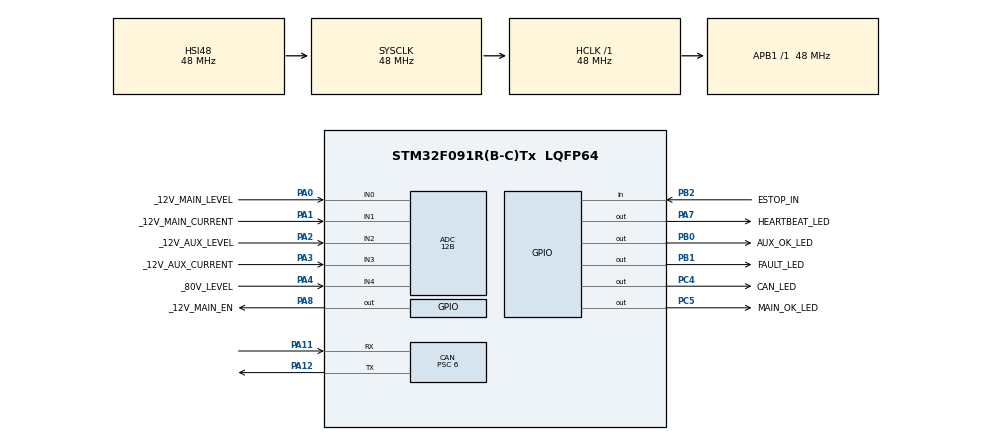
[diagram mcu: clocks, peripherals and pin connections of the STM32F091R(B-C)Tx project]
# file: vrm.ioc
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ADC.ClockPrescaler=ADC_CLOCK_SYNC_PCLK_DIV4
ADC.ContinuousConvMode=DISABLE
ADC.DMAContinuousRequests=DISABLE
ADC.DataAlign=ADC_DATAALIGN_RIGHT
ADC.DiscontinuousConvMode=DISABLE
ADC.EOCSelection=ADC_EOC_SINGLE_CONV
ADC.EnableAnalogWatchDog=false
ADC.ExternalTrigConv=ADC_SOFTWARE_START
ADC.ExternalTrigConvEdge=ADC_EXTERNALTRIGCONVEDGE_NONE
ADC.LowPowerAutoPowerOff=DISABLE
ADC.LowPowerAutoWait=DISABLE
ADC.Overrun=ADC_OVR_DATA_PRESERVED
ADC.Resolution=ADC_RESOLUTION_12B
ADC.SamplingTime=ADC_SAMPLETIME_239CYCLES_5
ADC.ScanConvMode=ADC_SCAN_DIRECTION_FORWARD
CAN.ABOM=ENABLE
CAN.AWUM=ENABLE
CAN.BS1=CAN_BS1_13TQ
CAN.BS2=CAN_BS2_2TQ
CAN.CalculateTimeQuantum=125.0
CAN.Prescaler=6
Mcu.Family=STM32F0
Mcu.Name=STM32F091R(B-C)Tx
Mcu.Package=LQFP64
NVIC.ADC1_COMP_IRQn=true\:0\:0\:false\:false\:true\:true\:true
NVIC.CEC_CAN_IRQn=true\:0\:0\:false\:false\:true\:true\:true
PA0.GPIO_Label=_12V_MAIN_LEVEL
PA0.Mode=IN0
PA0.Signal=ADC_IN0
PA1.GPIO_Label=_12V_MAIN_CURRENT
PA1.Mode=IN1
PA1.Signal=ADC_IN1
PA11.Mode=Master
PA11.Signal=CAN_RX
PA12.Mode=Master
PA12.Signal=CAN_TX
PA13.Mode=Serial_Wire
PA13.Signal=SYS_SWDIO
PA14.Mode=Serial_Wire
PA14.Signal=SYS_SWCLK
PA2.GPIO_Label=_12V_AUX_LEVEL
PA2.Mode=IN2
PA2.Signal=ADC_IN2
PA3.GPIO_Label=_12V_AUX_CURRENT
PA3.Mode=IN3
PA3.Signal=ADC_IN3
PA4.GPIO_Label=_80V_LEVEL
PA4.Mode=IN4
PA4.Signal=ADC_IN4
PA7.GPIO_Label=HEARTBEAT_LED
PA7.Signal=GPIO_Output
PA8.GPIO_Label=_12V_MAIN_EN
PA8.Signal=GPIO_Output
PB0.GPIO_Label=AUX_OK_LED
PB0.Signal=GPIO_Output
PB1.GPIO_Label=FAULT_LED
PB1.Signal=GPIO_Output
PB2.GPIO_Label=ESTOP_IN
PB2.Signal=GPIO_Input
PC4.GPIO_Label=CAN_LED
PC4.Signal=GPIO_Output
PC5.GPIO_Label=MAIN_OK_LED
PC5.Signal=GPIO_Output
ProjectManager.HeapSize=0x200
ProjectManager.StackSize=0x400
ProjectManager.TargetToolchain=SW4STM32
RCC.AHBFreq_Value=48000000
RCC.APB1Freq_Value=48000000
RCC.APB1TimFreq_Value=48000000
RCC.HCLKFreq_Value=48000000
RCC.PLLMUL=RCC_PLL_MUL6
RCC.SYSCLKFreq_VALUE=48000000
RCC.SYSCLKSource=RCC_SYSCLKSOURCE_HSI48
board=custom

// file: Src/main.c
/**
  ******************************************************************************
  * @file           : main.c
  * @brief          : Main program body
  ******************************************************************************
  ** This notice applies to any and all portions of this file
  * that are not between comment pairs USER CODE BEGIN and
  * USER CODE END. Other portions of this file, whether
  * inserted by the user or by software development tools
  * are owned by their respective copyright owners.
  *
  * COPYRIGHT(c) 2019 STMicroelectronics
  *
  * Redistribution and use in source and binary forms, with or without modification,
  * are permitted provided that the following conditions are met:
  *   1. Redistributions of source code must retain the above copyright notice,
  *      this list of conditions and the following disclaimer.
  *   2. Redistributions in binary form must reproduce the above copyright notice,
  *      this list of conditions and the following disclaimer in the documentation
  *      and/or other materials provided with the distribution.
  *   3. Neither the name of STMicroelectronics nor the names of its contributors
  *      may be used to endorse or promote products derived from this software
  *      without specific prior written permission.
  *
  * THIS SOFTWARE IS PROVIDED BY THE COPYRIGHT HOLDERS AND CONTRIBUTORS "AS IS"
  * AND ANY EXPRESS OR IMPLIED WARRANTIES, INCLUDING, BUT NOT LIMITED TO, THE
  * IMPLIED WARRANTIES OF MERCHANTABILITY AND FITNESS FOR A PARTICULAR PURPOSE ARE
  * DISCLAIMED. IN NO EVENT SHALL THE COPYRIGHT HOLDER OR CONTRIBUTORS BE LIABLE
  * FOR ANY DIRECT, INDIRECT, INCIDENTAL, SPECIAL, EXEMPLARY, OR CONSEQUENTIAL
  * DAMAGES (INCLUDING, BUT NOT LIMITED TO, PROCUREMENT OF SUBSTITUTE GOODS OR
  * SERVICES; LOSS OF USE, DATA, OR PROFITS; OR BUSINESS INTERRUPTION) HOWEVER
  * CAUSED AND ON ANY THEORY OF LIABILITY, WHETHER IN CONTRACT, STRICT LIABILITY,
  * OR TORT (INCLUDING NEGLIGENCE OR OTHERWISE) ARISING IN ANY WAY OUT OF THE USE
  * OF THIS SOFTWARE, EVEN IF ADVISED OF THE POSSIBILITY OF SUCH DAMAGE.
  *
  ******************************************************************************
  */
#include "main.h"
#include "stm32f0xx_hal.h"
#include "adc.h"
#include "can.h"
#include "gpio.h"

/* USER CODE BEGIN PV */
/* Private variables ---------------------------------------------------------*/

volatile uint16_t LoopCount = 0;
volatile float vddVoltage = 3.26;
/*
 * ADC Channels
 * 0: 12V Main voltage
 * 1: 12V Main current
 * 2: 12V Aux voltage
 * 3: 12V Aux current
 * 4: 80V Main input voltage
 */
volatile uint16_t ADCRawValues[5] = {0};
volatile uint8_t ADCChannelIndex = 0;

//Voltage divider ratio calculations
//Use R2 / (R1 + R2)
static float _12V_Main_Ratio =  0.15151515151515151515151515151515; //10000 / (56000 + 10000)
static float _12V_Aux_Ratio = 0.15151515151515151515151515151515; //10000 / (56000 + 10000)
static float _80V_Ratio = 0.02629016553067185978578383641675; //2700 / (100000 + 2700)

//Voltages
volatile float Main_12V_Voltage = 0;
volatile float Aux_12V_Voltage = 0;
volatile float Input_Voltage = 0;
volatile float Main_12V_Current = 0;
volatile float Aux_12V_Current = 0;

//Thresholds
float Voltage_Tolerance = 0.1; //0-1 adjustment (x100 for percent)
float Input_Lower_Threshold = 34; //Lower input voltage limit
float Input_Upper_Threshold = 45; //Upper input voltage limit

//Status flags
volatile uint8_t Main_OK = 0;
volatile uint8_t Aux_OK = 0;
volatile uint8_t System_PSU_OK = 0;
volatile uint8_t CAN_OK = 0;
volatile uint8_t Input_Fault = 0;
volatile uint8_t Main_Fault = 0;
volatile uint8_t Aux_Fault = 0;
volatile uint8_t System_PSU_Fault = 0;
volatile uint8_t Fault = 0;

/*
 * Fault code indicator
 * Bit 7:
 * Bit 6:
 * Bit 5:
 * Bit 4:
 * Bit 3:
 * Bit 2: Input_Fault
 * Bit 1: Aux_Fault
 * Bit 0: Main_Fault
 */
volatile uint8_t Fault_Code = 0;

//Enable flags
uint8_t Main_Enable = 0;

#define BIT_SET(a,b) ((a) |= (1ULL<<(b)))
#define BIT_CLEAR(a,b) ((a) &= ~(1ULL<<(b)))

/* USER CODE END PV */

void SystemClock_Config(void);

/* USER CODE BEGIN PFP */
/* Private function prototypes -----------------------------------------------*/

float CalculateShuntCurrent(uint32_t ADC_Reading);

/* USER CODE END PFP */

/* USER CODE BEGIN 0 */

float CalculateShuntCurrent(uint32_t ADC_Reading)
{
	//Calculate ADC pin input voltage
	volatile float ADC_InputVoltage = ADC_Reading * (vddVoltage / 4096.0);

	volatile float CurrentShuntVoltage = ADC_InputVoltage / 50.0;

	volatile float Current = CurrentShuntVoltage / 0.005;

	return Current;
}

/* USER CODE END 0 */

int main(void)
{

  /* MCU Configuration----------------------------------------------------------*/

  /* Reset of all peripherals, Initializes the Flash interface and the Systick. */
  HAL_Init();

  /* Configure the system clock */
  SystemClock_Config();

  /* Initialize all configured peripherals */
  MX_GPIO_Init();
  MX_ADC_Init();
  MX_CAN_Init();
  /* USER CODE BEGIN 2 */

  HAL_ADC_Start_IT(&hadc);
  //HAL_ADC_Start(&hadc);

  hcan.Instance->MCR = 0x60;

  HAL_CAN_Receive_IT(&hcan, CAN_FIFO0);

  /* USER CODE END 2 */

  /* Infinite loop */
  /* USER CODE BEGIN WHILE */
  while (1)
  {
	  //Check for invalid main output
	  if((Main_12V_Voltage < (12 - (12 * Voltage_Tolerance)) && Main_Enable == 1) || Main_12V_Voltage > (12 + (12 * Voltage_Tolerance)))
	  {
		  Main_Fault = 1;
		  Main_OK = 0;
		  BIT_SET(Fault_Code, 0);
	  } else {
		 Main_Fault = 0;
		 Main_OK = 1;
		 BIT_CLEAR(Fault_Code, 0);
	  }

	  //Check for out of range input
	  if(Input_Voltage > Input_Upper_Threshold || Input_Voltage < Input_Lower_Threshold)
	  {
		  Input_Fault = 1;
		  BIT_SET(Fault_Code, 2);
	  } else if (Input_Voltage < Input_Upper_Threshold || Input_Voltage > Input_Lower_Threshold)
	  {
		  Input_Fault = 0;
		  BIT_CLEAR(Fault_Code, 2);
	  }

	  //Check for invalid auxiliary 12V output voltage
	  if(Aux_12V_Voltage < (12 - (12 * Voltage_Tolerance)) || Aux_12V_Voltage > (12 + (12 * Voltage_Tolerance)))
	  {
		  Aux_Fault = 1;
		  Aux_OK = 0;
		  BIT_SET(Fault_Code, 1);
	  } else {
		  Aux_Fault = 0;
		  Aux_OK = 1;
		  BIT_CLEAR(Fault_Code, 1);
	  }

	  if(Aux_Fault || Input_Fault || Main_Fault)
	  {
		  Fault = 1;
	  } else {
		  Fault = 0;
	  }

  /* USER CODE END WHILE */

  }

}

void SystemClock_Config(void)
{

  RCC_OscInitTypeDef RCC_OscInitStruct;
  RCC_ClkInitTypeDef RCC_ClkInitStruct;

    /**Initializes the CPU, AHB and APB busses clocks
    */
  RCC_OscInitStruct.OscillatorType = RCC_OSCILLATORTYPE_HSI48;
  RCC_OscInitStruct.HSI48State = RCC_HSI48_ON;
  RCC_OscInitStruct.PLL.PLLState = RCC_PLL_NONE;
  if (HAL_RCC_OscConfig(&RCC_OscInitStruct) != HAL_OK)
  {
    _Error_Handler(__FILE__, __LINE__);
  }

    /**Initializes the CPU, AHB and APB busses clocks
    */
  RCC_ClkInitStruct.ClockType = RCC_CLOCKTYPE_HCLK|RCC_CLOCKTYPE_SYSCLK
                              |RCC_CLOCKTYPE_PCLK1;
  RCC_ClkInitStruct.SYSCLKSource = RCC_SYSCLKSOURCE_HSI48;
  RCC_ClkInitStruct.AHBCLKDivider = RCC_SYSCLK_DIV1;
  RCC_ClkInitStruct.APB1CLKDivider = RCC_HCLK_DIV1;

  if (HAL_RCC_ClockConfig(&RCC_ClkInitStruct, FLASH_LATENCY_1) != HAL_OK)
  {
    _Error_Handler(__FILE__, __LINE__);
  }

    /**Configure the Systick interrupt time
    */
  HAL_SYSTICK_Config(HAL_RCC_GetHCLKFreq()/1000);

    /**Configure the Systick
    */
  HAL_SYSTICK_CLKSourceConfig(SYSTICK_CLKSOURCE_HCLK);

  /* SysTick_IRQn interrupt configuration */
  HAL_NVIC_SetPriority(SysTick_IRQn, 0, 0);
}

/* USER CODE BEGIN 4 */

void HAL_SYSTICK_Callback(void)
{
	if(LoopCount == 1000) LoopCount = 0;

	//Heartbeat indicator toggle
	if(LoopCount % 500 == 0)
	{
		HAL_GPIO_TogglePin(HEARTBEAT_LED_GPIO_Port, HEARTBEAT_LED_Pin);
	}

	//Fault indicators toggle & CAN transmit
	if(LoopCount % 100 == 0)
	{
		if(Fault == 1)
		{
			HAL_GPIO_TogglePin(FAULT_LED_GPIO_Port, FAULT_LED_Pin);

			if(Main_OK == 0) HAL_GPIO_TogglePin(MAIN_OK_LED_GPIO_Port, MAIN_OK_LED_Pin);
			if(Aux_OK == 0) HAL_GPIO_TogglePin(AUX_OK_LED_GPIO_Port, AUX_OK_LED_Pin);
		} else {
			HAL_GPIO_WritePin(FAULT_LED_GPIO_Port, FAULT_LED_Pin, 0);
		}

		hcan.pTxMsg->DLC = 6;
		hcan.pTxMsg->Data[0] = (int)Main_12V_Voltage;
		hcan.pTxMsg->Data[1] = (int)Main_12V_Current * 10;
		hcan.pTxMsg->Data[2] = (int)Aux_12V_Voltage;
		hcan.pTxMsg->Data[3] = (int)Aux_12V_Current * 10;
		hcan.pTxMsg->Data[4] = (int)Input_Voltage;
		hcan.pTxMsg->Data[5] = (int)Fault_Code;

		if(HAL_CAN_Transmit(&hcan, 10) != HAL_OK)
		{
			Error_Handler();
		} else {
			HAL_GPIO_TogglePin(CAN_LED_GPIO_Port, CAN_LED_Pin);
		}

	}

	//Status indicator setting
	if(Main_OK == 1 && Main_Enable == 1)
	{
		HAL_GPIO_WritePin(MAIN_OK_LED_GPIO_Port, MAIN_OK_LED_Pin, 1);
	}

	if(Main_Enable == 0)
	{
		HAL_GPIO_WritePin(MAIN_OK_LED_GPIO_Port, MAIN_OK_LED_Pin, 0);
	}

	if(Aux_OK == 1)
	{
		HAL_GPIO_WritePin(AUX_OK_LED_GPIO_Port, AUX_OK_LED_Pin, 1);
	}

	LoopCount++;
}

void HAL_ADC_ConvCpltCallback(ADC_HandleTypeDef* hadc)
{
	if(__HAL_ADC_GET_FLAG(hadc, ADC_FLAG_EOC))
	{
		ADCRawValues[ADCChannelIndex] = HAL_ADC_GetValue(hadc);
		ADCChannelIndex++;
	}

	if(__HAL_ADC_GET_FLAG(hadc, ADC_FLAG_EOS))
	{
		//DCBUS_VOLTAGE = (ADC_RAW * (3.3 / 4096.0)) / 0.04347826086956521739130434782609; // calculated from R2 / (R1 + R2)

		//Calculate voltages and currents
		Main_12V_Voltage = (ADCRawValues[0] * (vddVoltage / 4096.0)) / _12V_Main_Ratio;
		Main_12V_Current = CalculateShuntCurrent(ADCRawValues[1]);
		Aux_12V_Voltage = (ADCRawValues[2] * (vddVoltage / 4096.0)) / _12V_Aux_Ratio;
		Aux_12V_Current = CalculateShuntCurrent(ADCRawValues[3]);
		Input_Voltage = (ADCRawValues[4] * (vddVoltage / 4096.0)) / _80V_Ratio;

		HAL_ADC_Start_IT(hadc);
		ADCChannelIndex = 0;
	}
}

void HAL_CAN_TxCpltCallback(CAN_HandleTypeDef* hcan)
{
	HAL_GPIO_TogglePin(CAN_LED_GPIO_Port, CAN_LED_Pin);
}

void HAL_CAN_RxCpltCallback(CAN_HandleTypeDef* hcan)
{
	HAL_GPIO_TogglePin(CAN_LED_GPIO_Port, CAN_LED_Pin);

	if(hcan->pRxMsg->StdId == CAN_ADDRESS && hcan->pRxMsg->IDE == CAN_ID_STD)
	{
		if(hcan->pRxMsg->Data[0] == 1)
		{
			Main_Enable = 1;
			HAL_GPIO_WritePin(_12V_MAIN_EN_GPIO_Port,_12V_MAIN_EN_Pin, 1);
		}
		if(hcan->pRxMsg->Data[0] == 0)
		{
			Main_Enable = 0;
			HAL_GPIO_WritePin(_12V_MAIN_EN_GPIO_Port,_12V_MAIN_EN_Pin, 0);
		}
	}

	HAL_CAN_Receive_IT(hcan, CAN_FIFO0);
}

/* USER CODE END 4 */

void _Error_Handler(char *file, int line)
{
  while(1)
  {
  }
}

/************************ (C) COPYRIGHT STMicroelectronics *****END OF FILE****/
